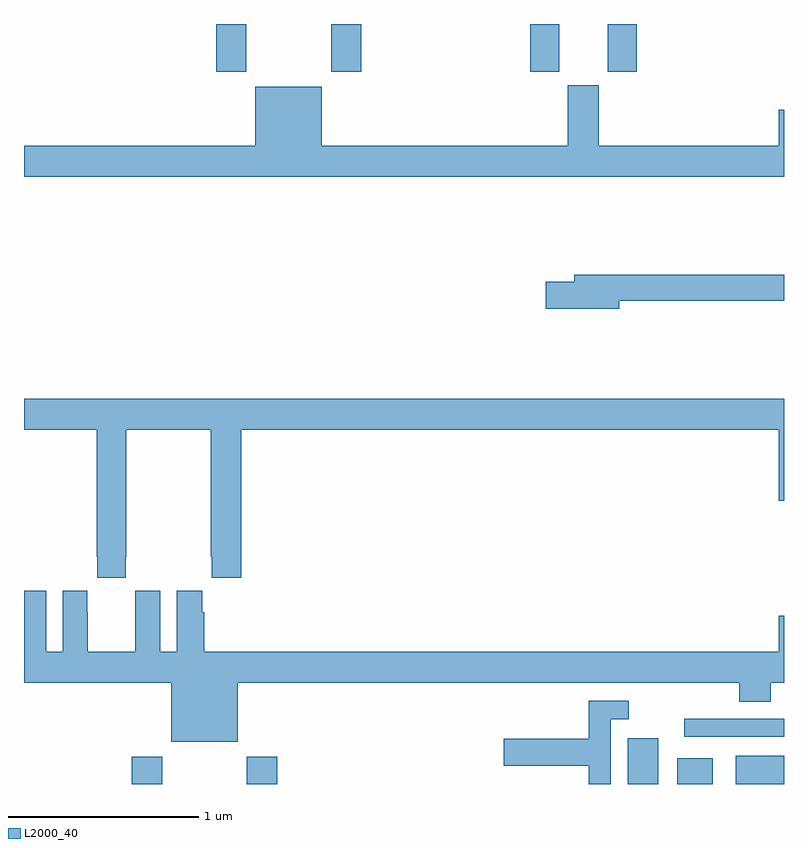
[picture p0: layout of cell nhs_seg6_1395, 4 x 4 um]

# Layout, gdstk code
import gdstk
lib = gdstk.Library(unit=1e-6, precision=1e-09)
def R(c, l, rs):  # rectangles x0, y0, x1, y1
    for r in rs: c.add(gdstk.rectangle(r[:2], r[2:], *l))
def P(c, l, *ps):  # polygons
    for p in ps: c.add(gdstk.Polygon(p, *l))
L2000_40 = (2000, 40)

nhs_seg6_1395 = lib.new_cell('nhs_seg6_1395')
R(nhs_seg6_1395, L2000_40, [(197.567,917.5,197.727,917.644), (198.172,917.5,198.332,917.644), (200.177,917.5,200.338,917.74), (200.438,917.5,200.626,917.635), (200.747,917.5,201,917.65), (200.475,917.748,201,917.844), (198.011,921.249,198.171,921.5), (198.616,921.249,198.776,921.5), (199.664,921.249,199.816,921.5), (200.072,921.249,200.225,921.5)])
P(nhs_seg6_1395, L2000_40, [(201,921.049),(200.972,921.049),(200.972,920.86),(200.026,920.86),(200.026,921.177),(199.862,921.177),(199.862,920.86),(198.568,920.86),(198.568,921.169),(198.218,921.169),(198.218,920.86),(197,920.86),(197,920.696),(201,920.696)],
  [(200.134,920.044),(201,920.044),(201,920.18),(199.895,920.18),(199.895,920.144),(199.746,920.144),(199.746,920.002),(200.134,920.002)],
  [(197.535,918.697),(197.538,918.697),(197.538,919.364),(197.983,919.364),(197.983,918.697),(197.989,918.697),(197.989,918.585),(198.143,918.585),(198.143,919.364),(200.972,919.364),(200.972,918.99),(201,918.99),(201,919.528),(197,919.528),(197,919.364),(197.383,919.364),(197.383,918.697),(197.385,918.697),(197.385,918.585),(197.535,918.585)],
  [(198.124,918.032),(200.765,918.032),(200.765,917.933),(200.93,917.933),(200.93,918.032),(201,918.032),(201,918.385),(200.972,918.385),(200.972,918.196),(197.948,918.196),(197.948,918.404),(197.938,918.404),(197.938,918.517),(197.804,918.517),(197.804,918.196),(197.716,918.196),(197.716,918.517),(197.586,918.517),(197.586,918.404),(197.585,918.404),(197.585,918.196),(197.335,918.196),(197.335,918.404),(197.334,918.404),(197.334,918.517),(197.204,918.517),(197.204,918.196),(197.116,918.196),(197.116,918.517),(197,918.517),(197,918.032),(197.774,918.032),(197.774,917.723),(198.124,917.723)],
  [(200.088,917.841),(200.182,917.841),(200.182,917.937),(199.972,917.937),(199.972,917.739),(199.524,917.739),(199.524,917.597),(199.972,917.597),(199.972,917.5),(200.088,917.5)])

lib.write_gds('nhs_seg6_1395.gds')
